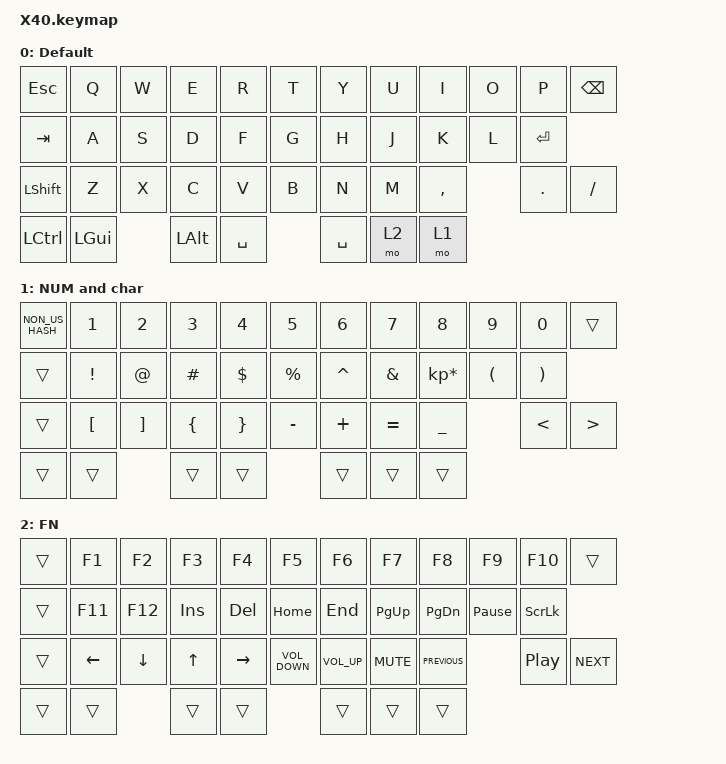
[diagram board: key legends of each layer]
#include <behaviors.dtsi>
#include <dt-bindings/zmk/keys.h>

/ {
    keymap {
        compatible = "zmk,keymap";
        
        default_layer {
            display-name = "Default";
            bindings = <
                &kp ESC  &kp Q  &kp W  &kp E  &kp R  &kp T  &kp Y  &kp U  &kp I  &kp O  &kp P  &kp BACKSPACE
                &kp TAB  &kp A  &kp S  &kp D  &kp F  &kp G  &kp H  &kp J  &kp K  &kp L  &kp RET
                &kp LSHFT  &kp Z  &kp X  &kp C  &kp V  &kp B  &kp N  &kp M  &kp COMMA  &kp DOT  &kp FSLH
                &kp LCTRL  &kp LGUI  &kp LALT  &kp SPACE  &kp SPACE  &mo 2  &mo 1
            >;
        };
        num_char_layer {
            display-name = "NUM and char";
            bindings = <
                &kp NON_US_HASH  &kp N1  &kp N2  &kp N3  &kp N4  &kp N5  &kp N6  &kp N7  &kp N8  &kp N9  &kp N0  &trans
                &trans  &kp EXCL  &kp AT  &kp HASH  &kp DLLR  &kp PRCNT  &kp CARET  &kp AMPS  &kp KP_MULTIPLY  &kp LPAR  &kp RPAR
                &trans  &kp LEFT_BRACKET &kp RIGHT_BRACKET &kp LEFT_BRACE &kp RIGHT_BRACE &kp MINUS &kp PLUS &kp EQUAL &kp UNDERSCORE &kp LESS_THAN &kp GREATER_THAN
                &trans  &trans  &trans  &trans  &trans  &trans  &trans
            >;
        };
        fn_layer {
            
            display-name = "FN";
            bindings = <
                &trans  &kp F1  &kp F2  &kp F3  &kp F4  &kp F5  &kp F6  &kp F7  &kp F8  &kp F9  &kp F10  &trans
                &trans  &kp F11  &kp F12  &kp INSERT  &kp DELETE  &kp HOME  &kp END  &kp PG_UP  &kp PG_DN  &kp PAUSE_BREAK  &kp SCROLLLOCK
                &trans  &kp LEFT &kp DOWN &kp UP &kp RIGHT &kp C_VOLUME_DOWN &kp C_VOLUME_UP &kp C_MUTE &kp C_PREVIOUS &kp C_PLAY_PAUSE &kp C_NEXT
                &trans  &trans  &trans  &trans  &trans  &trans  &trans
            >;
        
        };
    };
};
